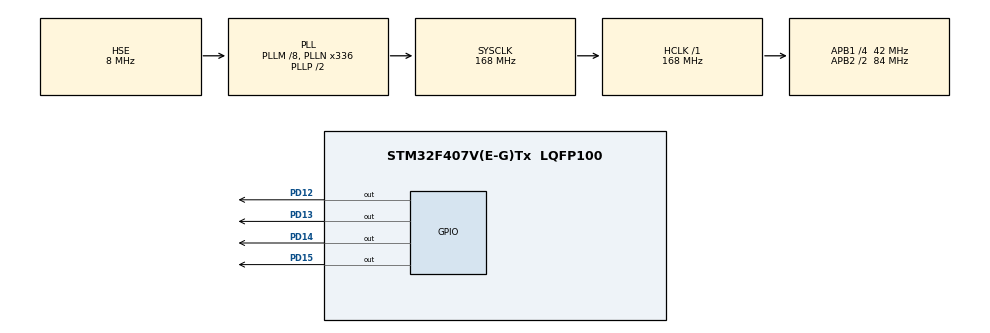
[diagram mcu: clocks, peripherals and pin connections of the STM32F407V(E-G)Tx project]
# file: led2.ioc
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FREERTOS.INCLUDE_vTaskDelayUntil=1
FREERTOS.Tasks01=defaultTask,-3,128,StartDefaultTask,Default,NULL,Dynamic,NULL,NULL
FREERTOS.configUSE_NEWLIB_REENTRANT=1
Mcu.Family=STM32F4
Mcu.Name=STM32F407V(E-G)Tx
Mcu.Package=LQFP100
NVIC.PriorityGroup=NVIC_PRIORITYGROUP_4
NVIC.TIM1_UP_TIM10_IRQn=true\:15\:0\:false\:false\:true\:false\:false\:true\:true
NVIC.TimeBase=TIM1_UP_TIM10_IRQn
NVIC.TimeBaseIP=TIM1
PD12.Signal=GPIO_Output
PD13.Signal=GPIO_Output
PD14.Signal=GPIO_Output
PD15.Signal=GPIO_Output
PH0-OSC_IN.Mode=HSE-External-Oscillator
PH0-OSC_IN.Signal=RCC_OSC_IN
PH1-OSC_OUT.Mode=HSE-External-Oscillator
PH1-OSC_OUT.Signal=RCC_OSC_OUT
ProjectManager.HeapSize=0x200
ProjectManager.StackSize=0x400
ProjectManager.TargetToolchain=STM32CubeIDE
RCC.48MHZClocksFreq_Value=48000000
RCC.AHBFreq_Value=168000000
RCC.APB1CLKDivider=RCC_HCLK_DIV4
RCC.APB1Freq_Value=42000000
RCC.APB1TimFreq_Value=84000000
RCC.APB2CLKDivider=RCC_HCLK_DIV2
RCC.APB2Freq_Value=84000000
RCC.APB2TimFreq_Value=168000000
RCC.CortexFreq_Value=168000000
RCC.HCLKFreq_Value=168000000
RCC.HSE_VALUE=8000000
RCC.HSI_VALUE=16000000
RCC.PLLM=8
RCC.PLLN=336
RCC.PLLQ=7
RCC.PLLSourceVirtual=RCC_PLLSOURCE_HSE
RCC.SYSCLKFreq_VALUE=168000000
RCC.SYSCLKSource=RCC_SYSCLKSOURCE_PLLCLK
RCC.VCOOutputFreq_Value=336000000
VP_FREERTOS_VS_CMSIS_V1.Mode=CMSIS_V1
VP_SYS_VS_tim1.Mode=TIM1
board=STM32F407G-DISC1

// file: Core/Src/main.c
/* USER CODE BEGIN Header */
/**
  ******************************************************************************
  * @file           : main.c
  * @brief          : Main program body
  ******************************************************************************
  * @attention
  *
  * Copyright (c) 2024 STMicroelectronics.
  * All rights reserved.
  *
  * This software is licensed under terms that can be found in the LICENSE file
  * in the root directory of this software component.
  * If no LICENSE file comes with this software, it is provided AS-IS.
  *
  ******************************************************************************
  */
/* USER CODE END Header */
#include "main.h"
#include "cmsis_os.h"

osThreadId defaultTaskHandle;

void SystemClock_Config(void);
static void MX_GPIO_Init(void);
void StartDefaultTask(void const * argument);

/* USER CODE BEGIN 0 */

void vContinuousTask(void *pvParam)
{
	uint32_t pin = (uint32_t)pvParam;
	while(1)
	{
		HAL_GPIO_TogglePin(GPIOD, pin);
		vTaskDelay(1000 / portTICK_RATE_MS);
	}
	vTaskDelete(NULL);
}

void vPeriodicTask(void *pvParam)
{
	uint32_t pin = (uint32_t)pvParam;
	TickType_t xTickCout = xTaskGetTickCount();
	while(1)
	{
		HAL_GPIO_TogglePin(GPIOD, pin);
		vTaskDelayUntil(&xTickCout ,1000 / portTICK_RATE_MS);
	}
	vTaskDelete(NULL);
}

/* USER CODE END 0 */

int main(void)
{
  /* USER CODE BEGIN 1 */
	portBASE_TYPE xRet;
	xTaskHandle xT1, xT2, xT3, xT4;

  /* USER CODE END 1 */

  /* MCU Configuration--------------------------------------------------------*/

  /* Reset of all peripherals, Initializes the Flash interface and the Systick. */
  HAL_Init();

  /* Configure the system clock */
  SystemClock_Config();

  /* Initialize all configured peripherals */
  MX_GPIO_Init();

  /* Create the thread(s) */
  /* definition and creation of defaultTask */
  osThreadDef(defaultTask, StartDefaultTask, osPriorityIdle, 0, 128);
  defaultTaskHandle = osThreadCreate(osThread(defaultTask), NULL);

  /* USER CODE BEGIN RTOS_THREADS */
  xRet = xTaskCreate(vContinuousTask, "Task1", configMINIMAL_STACK_SIZE, (void *)GPIO_PIN_12, 2, &xT1);
  if(xRet != pdTRUE)
	  Error_Handler();

  xRet = xTaskCreate(vContinuousTask, "Task2", configMINIMAL_STACK_SIZE, (void *)GPIO_PIN_13, 2, &xT2);
   if(xRet != pdTRUE)
 	  Error_Handler();

   xRet = xTaskCreate(vPeriodicTask, "Task3", configMINIMAL_STACK_SIZE, (void *)GPIO_PIN_14, 2, &xT3);
    if(xRet != pdTRUE)
  	  Error_Handler();

    xRet = xTaskCreate(vPeriodicTask, "Task4", configMINIMAL_STACK_SIZE, (void *)GPIO_PIN_15, 2, &xT4);
     if(xRet != pdTRUE)
   	  Error_Handler();
  /* USER CODE END RTOS_THREADS */

  /* Start scheduler */
  osKernelStart();

  /* We should never get here as control is now taken by the scheduler */
  /* Infinite loop */
  while (1)
  {

  }
}

void SystemClock_Config(void)
{
  RCC_OscInitTypeDef RCC_OscInitStruct = {0};
  RCC_ClkInitTypeDef RCC_ClkInitStruct = {0};

  /** Configure the main internal regulator output voltage
  */
  __HAL_RCC_PWR_CLK_ENABLE();
  __HAL_PWR_VOLTAGESCALING_CONFIG(PWR_REGULATOR_VOLTAGE_SCALE1);

  /** Initializes the RCC Oscillators according to the specified parameters
  * in the RCC_OscInitTypeDef structure.
  */
  RCC_OscInitStruct.OscillatorType = RCC_OSCILLATORTYPE_HSE;
  RCC_OscInitStruct.HSEState = RCC_HSE_ON;
  RCC_OscInitStruct.PLL.PLLState = RCC_PLL_ON;
  RCC_OscInitStruct.PLL.PLLSource = RCC_PLLSOURCE_HSE;
  RCC_OscInitStruct.PLL.PLLM = 8;
  RCC_OscInitStruct.PLL.PLLN = 336;
  RCC_OscInitStruct.PLL.PLLP = RCC_PLLP_DIV2;
  RCC_OscInitStruct.PLL.PLLQ = 7;
  if (HAL_RCC_OscConfig(&RCC_OscInitStruct) != HAL_OK)
  {
    Error_Handler();
  }

  /** Initializes the CPU, AHB and APB buses clocks
  */
  RCC_ClkInitStruct.ClockType = RCC_CLOCKTYPE_HCLK|RCC_CLOCKTYPE_SYSCLK
                              |RCC_CLOCKTYPE_PCLK1|RCC_CLOCKTYPE_PCLK2;
  RCC_ClkInitStruct.SYSCLKSource = RCC_SYSCLKSOURCE_PLLCLK;
  RCC_ClkInitStruct.AHBCLKDivider = RCC_SYSCLK_DIV1;
  RCC_ClkInitStruct.APB1CLKDivider = RCC_HCLK_DIV4;
  RCC_ClkInitStruct.APB2CLKDivider = RCC_HCLK_DIV2;

  if (HAL_RCC_ClockConfig(&RCC_ClkInitStruct, FLASH_LATENCY_5) != HAL_OK)
  {
    Error_Handler();
  }
}

static void MX_GPIO_Init(void)
{
  GPIO_InitTypeDef GPIO_InitStruct = {0};

  /* GPIO Ports Clock Enable */
  __HAL_RCC_GPIOH_CLK_ENABLE();
  __HAL_RCC_GPIOD_CLK_ENABLE();

  /*Configure GPIO pin Output Level */
  HAL_GPIO_WritePin(GPIOD, GPIO_PIN_12|GPIO_PIN_13|GPIO_PIN_14|GPIO_PIN_15, GPIO_PIN_RESET);

  /*Configure GPIO pins : PD12 PD13 PD14 PD15 */
  GPIO_InitStruct.Pin = GPIO_PIN_12|GPIO_PIN_13|GPIO_PIN_14|GPIO_PIN_15;
  GPIO_InitStruct.Mode = GPIO_MODE_OUTPUT_PP;
  GPIO_InitStruct.Pull = GPIO_NOPULL;
  GPIO_InitStruct.Speed = GPIO_SPEED_FREQ_LOW;
  HAL_GPIO_Init(GPIOD, &GPIO_InitStruct);

}

void StartDefaultTask(void const * argument)
{
  for(;;)
  {
    osDelay(1);
  }
}

void HAL_TIM_PeriodElapsedCallback(TIM_HandleTypeDef *htim)
{
  if (htim->Instance == TIM1) {
    HAL_IncTick();
  }
}

void Error_Handler(void)
{
  __disable_irq();
  while (1)
  {
  }
}
